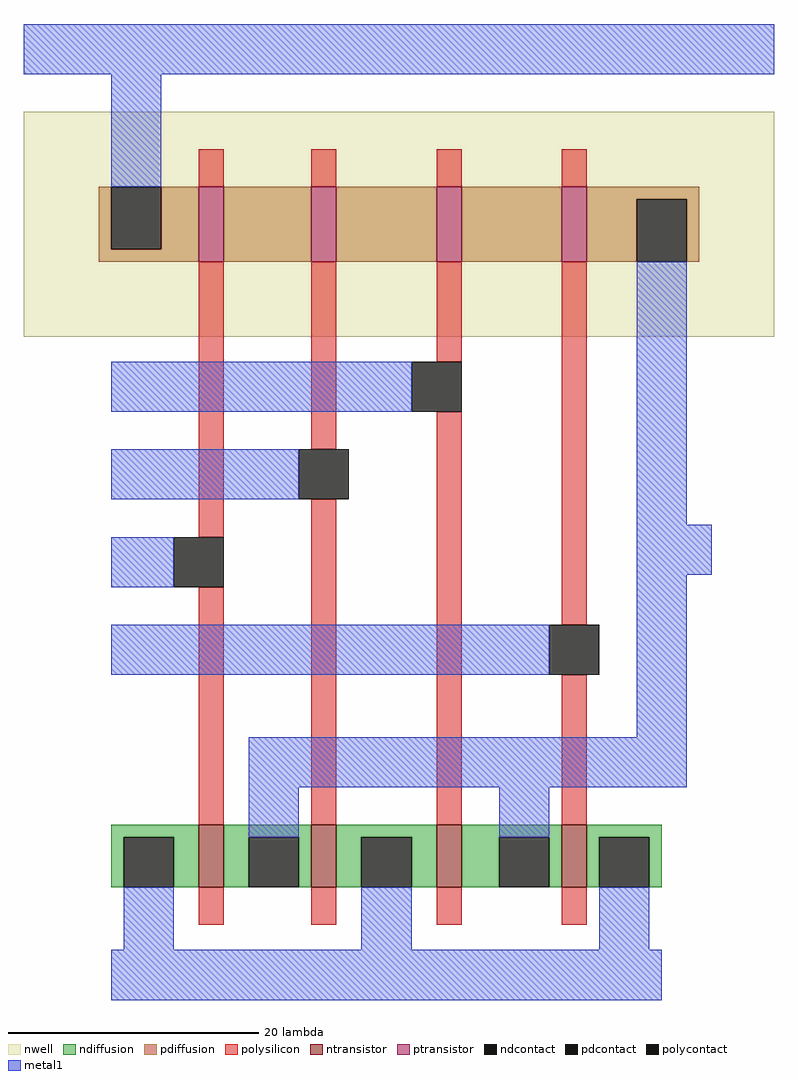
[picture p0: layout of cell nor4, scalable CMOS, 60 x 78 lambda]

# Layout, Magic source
magic
tech scmos
<< nwell >>
rect 0 0 60 18
<< ntransistor >>
rect 14 -44 16 -39
rect 23 -44 25 -39
rect 33 -44 35 -39
rect 43 -44 45 -39
<< ptransistor >>
rect 14 6 16 12
rect 23 6 25 12
rect 33 6 35 12
rect 43 6 45 12
<< ndiffusion >>
rect 7 -40 14 -39
rect 7 -44 8 -40
rect 12 -44 14 -40
rect 16 -40 23 -39
rect 16 -44 18 -40
rect 22 -44 23 -40
rect 25 -40 33 -39
rect 25 -44 27 -40
rect 31 -44 33 -40
rect 35 -40 43 -39
rect 35 -44 38 -40
rect 42 -44 43 -40
rect 45 -40 51 -39
rect 45 -44 46 -40
rect 50 -44 51 -40
<< pdiffusion >>
rect 6 7 7 12
rect 11 7 14 12
rect 6 6 14 7
rect 16 6 23 12
rect 25 6 33 12
rect 35 6 43 12
rect 45 11 54 12
rect 45 6 49 11
rect 53 6 54 11
<< ndcontact >>
rect 8 -44 12 -40
rect 18 -44 22 -40
rect 27 -44 31 -40
rect 38 -44 42 -40
rect 46 -44 50 -40
<< pdcontact >>
rect 7 7 11 12
rect 49 6 53 11
<< polysilicon >>
rect 14 12 16 15
rect 23 12 25 15
rect 33 12 35 15
rect 43 12 45 15
rect 14 -16 16 6
rect 23 -9 25 6
rect 33 -2 35 6
rect 14 -39 16 -20
rect 23 -39 25 -13
rect 33 -39 35 -6
rect 43 -23 45 6
rect 43 -39 45 -27
rect 14 -47 16 -44
rect 23 -47 25 -44
rect 33 -47 35 -44
rect 43 -47 45 -44
<< polycontact >>
rect 31 -6 35 -2
rect 22 -13 26 -9
rect 12 -20 16 -16
rect 42 -27 46 -23
<< metal1 >>
rect 0 21 60 25
rect 7 12 11 21
rect 7 -6 31 -2
rect 7 -13 22 -9
rect 49 -15 53 6
rect 7 -20 12 -16
rect 49 -19 55 -15
rect 7 -27 42 -23
rect 49 -32 53 -19
rect 18 -36 53 -32
rect 18 -40 22 -36
rect 38 -40 42 -36
rect 8 -49 12 -44
rect 27 -49 31 -44
rect 46 -49 50 -44
rect 7 -53 51 -49
<< end >>
